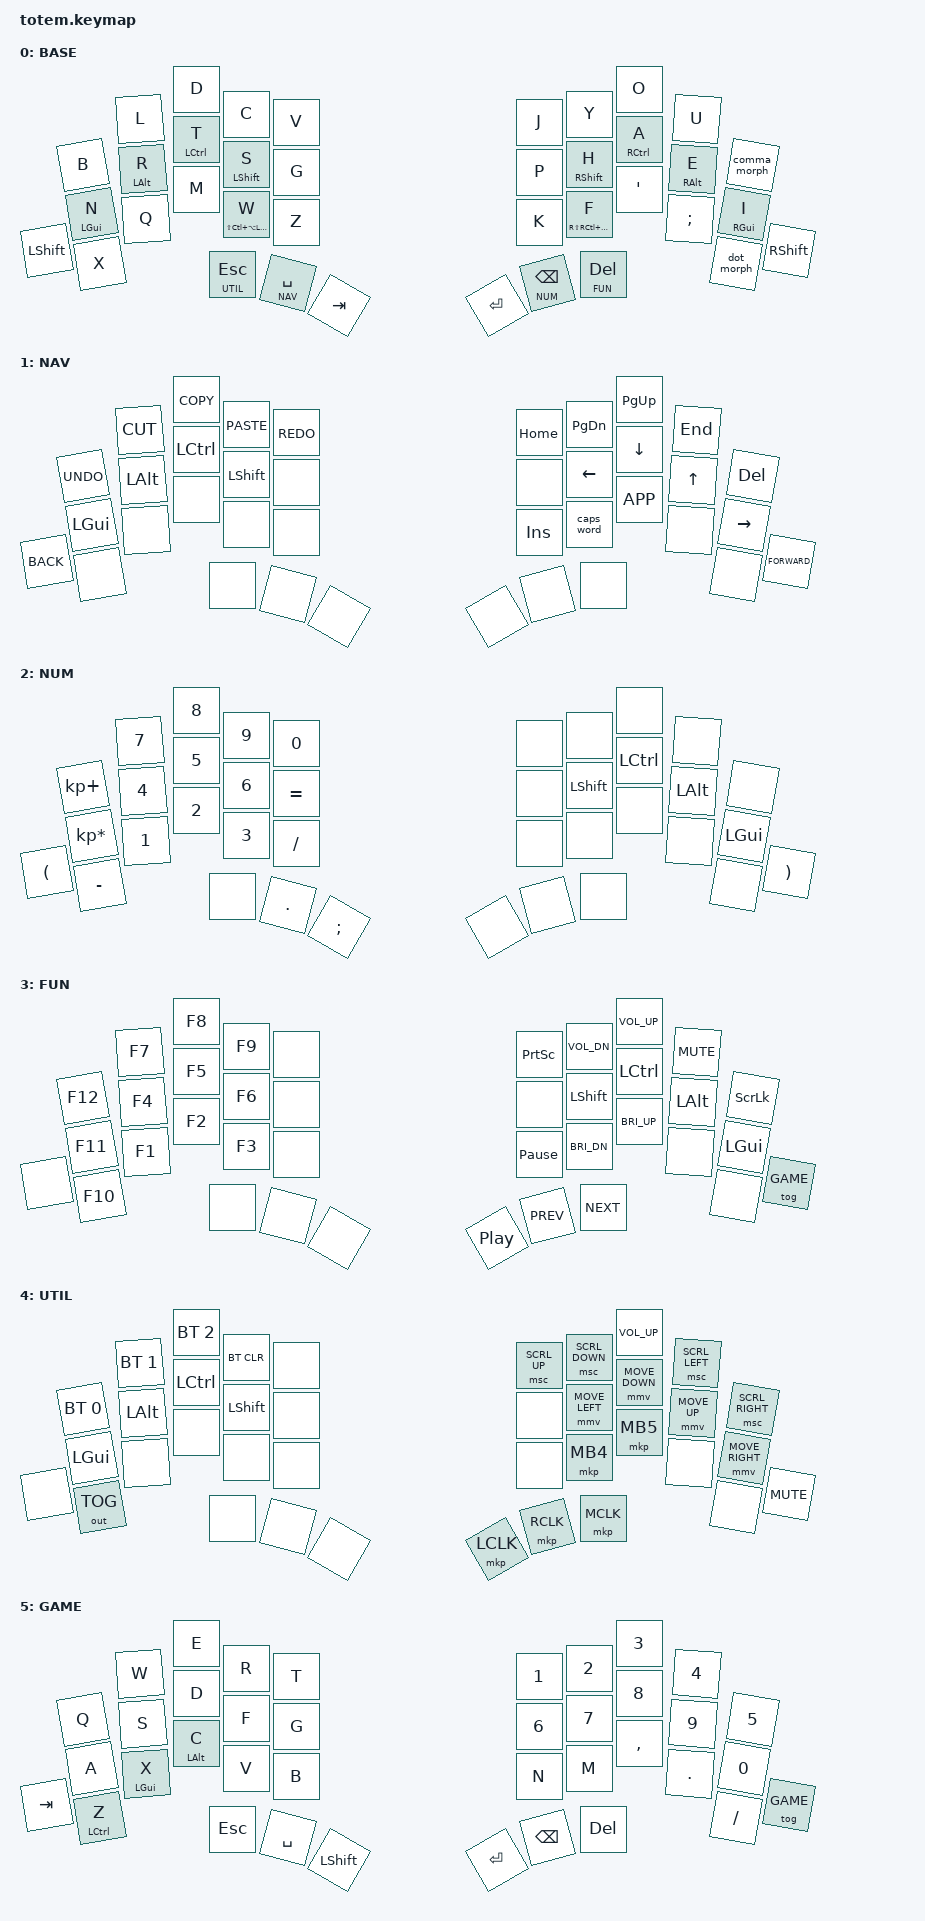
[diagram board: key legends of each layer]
// TOTEM Gallium layout — ported from RMK firmware (keymap.rs + behavior.rs)
// Home row mods (GACS), 33 combos, 2 mod-morphs, 1 macro, mouse keys, caps word

#include <behaviors.dtsi>
#include <dt-bindings/zmk/keys.h>
#include <dt-bindings/zmk/bt.h>
#include <dt-bindings/zmk/outputs.h>

// Mouse speed tuning (must precede pointing.h)
#define ZMK_POINTING_DEFAULT_MOVE_VAL 1500
#define ZMK_POINTING_DEFAULT_SCRL_VAL 20
#include <dt-bindings/zmk/pointing.h>

#define BASE 0
#define NAV  1
#define NUM  2
#define FUN  3
#define UTIL 4
#define GAME 5

// Key position groups for reference:
//          0  1  2  3  4     5  6  7  8  9       <- top
//         10 11 12 13 14    15 16 17 18 19       <- home
//    20   21 22 23 24 25    26 27 28 29 30   31  <- bottom + side
//                   32 33 34    35 36 37          <- thumbs
#define KEYS_L 0 1 2 3 4 10 11 12 13 14 20 21 22 23 24 25
#define KEYS_R 5 6 7 8 9 15 16 17 18 19 26 27 28 29 30 31
#define THUMBS 32 33 34 35 36 37

// Mouse behavior tuning — linear ramp: responsive start, full speed in 300ms
&mmv {
    time-to-max-speed-ms = <300>;
    acceleration-exponent = <1>;
};

&msc {
    time-to-max-speed-ms = <300>;
    acceleration-exponent = <0>;
};

/ {
    behaviors {
        // ── Home Row Mods (left hand) ──
        // Positional: hold only triggers on right-hand keys + thumbs
        hml: home_row_mod_left {
            compatible = "zmk,behavior-hold-tap";
            #binding-cells = <2>;
            flavor = "balanced";
            tapping-term-ms = <280>;
            quick-tap-ms = <175>;
            require-prior-idle-ms = <150>;
            bindings = <&kp>, <&kp>;
            hold-trigger-key-positions = <KEYS_R THUMBS>;
            hold-trigger-on-release;
        };

        // ── Home Row Mods (right hand) ──
        // Positional: hold only triggers on left-hand keys + thumbs
        hmr: home_row_mod_right {
            compatible = "zmk,behavior-hold-tap";
            #binding-cells = <2>;
            flavor = "balanced";
            tapping-term-ms = <280>;
            quick-tap-ms = <175>;
            require-prior-idle-ms = <150>;
            bindings = <&kp>, <&kp>;
            hold-trigger-key-positions = <KEYS_L THUMBS>;
            hold-trigger-on-release;
        };

        // ── Thumb Layer-Tap ──
        // Fast activation: hold-preferred, 200ms (RMK HoldOnOtherPress)
        lt_th: layer_tap_thumb {
            compatible = "zmk,behavior-hold-tap";
            #binding-cells = <2>;
            flavor = "hold-preferred";
            tapping-term-ms = <200>;
            quick-tap-ms = <200>;
            bindings = <&mo>, <&kp>;
        };

        // ── Mod-Morph: Comma / Semicolon ──
        // Normal: ,  |  Shifted: ; (shift suppressed)
        comma_morph: comma_semicolon {
            compatible = "zmk,behavior-mod-morph";
            #binding-cells = <0>;
            bindings = <&kp COMMA>, <&kp SEMI>;
            mods = <(MOD_LSFT|MOD_RSFT)>;
        };

        // ── Macro: Fat Arrow => ──
        fat_arrow: fat_arrow {
            compatible = "zmk,behavior-macro";
            #binding-cells = <0>;
            wait-ms = <0>;
            tap-ms = <0>;
            bindings = <&kp EQUAL &kp GT>;
        };

        // ── Mod-Morph: Dot / Colon ──
        // Normal: .  |  Shifted: : (shift suppressed, COLON = LS(SEMI))
        dot_morph: dot_colon {
            compatible = "zmk,behavior-mod-morph";
            #binding-cells = <0>;
            bindings = <&kp DOT>, <&kp COLON>;
            mods = <(MOD_LSFT|MOD_RSFT)>;
        };
    };

    // ══════════════════════════════════════════════════════════════
    // Combos — 33 total, all 80ms timeout, BASE layer only
    // ══════════════════════════════════════════════════════════════

    combos {
        compatible = "zmk,combos";

        // ─── Left vertical: top + home → ! @ # $ % ───
        combo_excl  { timeout-ms = <80>; key-positions = <0 10>;  bindings = <&kp EXCL>;  layers = <BASE>; };
        combo_at    { timeout-ms = <80>; key-positions = <1 11>;  bindings = <&kp AT>;    layers = <BASE>; };
        combo_hash  { timeout-ms = <80>; key-positions = <2 12>;  bindings = <&kp HASH>;  layers = <BASE>; };
        combo_dllr  { timeout-ms = <80>; key-positions = <3 13>;  bindings = <&kp DLLR>;  layers = <BASE>; };
        combo_prcnt { timeout-ms = <80>; key-positions = <4 14>;  bindings = <&kp PRCNT>; layers = <BASE>; };

        // ─── Left vertical: home + bottom → ? ` \ = ~ ───
        combo_qmark { timeout-ms = <80>; key-positions = <10 21>; bindings = <&kp QMARK>; layers = <BASE>; };
        combo_grave { timeout-ms = <80>; key-positions = <11 22>; bindings = <&kp GRAVE>; layers = <BASE>; };
        combo_bslh  { timeout-ms = <80>; key-positions = <12 23>; bindings = <&kp BSLH>;  layers = <BASE>; };
        combo_equal { timeout-ms = <80>; key-positions = <13 24>; bindings = <&kp EQUAL>; layers = <BASE>; };
        combo_tilde { timeout-ms = <80>; key-positions = <14 25>; bindings = <&kp TILDE>; layers = <BASE>; };

        // ─── Left horizontal: Esc + clipboard ───
        combo_esc   { timeout-ms = <80>; key-positions = <11 12 13>; bindings = <&kp ESC>;   layers = <BASE>; };
        combo_cut   { timeout-ms = <80>; key-positions = <22 24>;    bindings = <&kp LC(X)>;  layers = <BASE>; };
        combo_copy  { timeout-ms = <80>; key-positions = <22 23>;    bindings = <&kp LC(C)>;  layers = <BASE>; };
        combo_paste { timeout-ms = <80>; key-positions = <23 24>;    bindings = <&kp LC(V)>;  layers = <BASE>; };

        // ─── Right vertical: top + home → ^ + * & ───
        combo_caret { timeout-ms = <80>; key-positions = <5 15>;  bindings = <&kp CARET>; layers = <BASE>; };
        combo_plus  { timeout-ms = <80>; key-positions = <6 16>;  bindings = <&kp PLUS>;  layers = <BASE>; };
        combo_star  { timeout-ms = <80>; key-positions = <7 17>;  bindings = <&kp STAR>;  layers = <BASE>; };
        combo_amps  { timeout-ms = <80>; key-positions = <8 18>;  bindings = <&kp AMPS>;  layers = <BASE>; };

        // ─── Right vertical: home + bottom → _ - / | " => ───
        combo_under { timeout-ms = <80>; key-positions = <15 26>; bindings = <&kp UNDER>; layers = <BASE>; };
        combo_minus { timeout-ms = <80>; key-positions = <16 27>; bindings = <&kp MINUS>; layers = <BASE>; };
        combo_fslh  { timeout-ms = <80>; key-positions = <17 28>; bindings = <&kp FSLH>;  layers = <BASE>; };
        combo_pipe  { timeout-ms = <80>; key-positions = <18 29>; bindings = <&kp PIPE>;  layers = <BASE>; };
        combo_dqt   { timeout-ms = <80>; key-positions = <29 19>; bindings = <&kp DQT>;   layers = <BASE>; };
        combo_arrow { timeout-ms = <80>; key-positions = <30 19>; bindings = <&fat_arrow>; layers = <BASE>; };

        // ─── Right horizontal: brackets ───
        combo_lbkt  { timeout-ms = <80>; key-positions = <6 7>;   bindings = <&kp LBKT>;  layers = <BASE>; };
        combo_rbkt  { timeout-ms = <80>; key-positions = <7 8>;   bindings = <&kp RBKT>;  layers = <BASE>; };
        combo_lpar  { timeout-ms = <80>; key-positions = <16 17>; bindings = <&kp LPAR>;  layers = <BASE>; };
        combo_rpar  { timeout-ms = <80>; key-positions = <17 18>; bindings = <&kp RPAR>;  layers = <BASE>; };
        combo_lbrc  { timeout-ms = <80>; key-positions = <27 28>; bindings = <&kp LBRC>;  layers = <BASE>; };
        combo_rbrc  { timeout-ms = <80>; key-positions = <28 29>; bindings = <&kp RBRC>;  layers = <BASE>; };
        combo_lt    { timeout-ms = <80>; key-positions = <15 16>; bindings = <&kp LT>;    layers = <BASE>; };
        combo_gt    { timeout-ms = <80>; key-positions = <18 19>; bindings = <&kp GT>;    layers = <BASE>; };

        // ─── Caps word: S + H ───
        combo_caps  { timeout-ms = <80>; key-positions = <13 16>; bindings = <&caps_word>; layers = <BASE>; };

        // ─── ZMK Studio unlock: outermost thumbs (Esc + Del) ───
        combo_studio { timeout-ms = <80>; key-positions = <32 37>; bindings = <&studio_unlock>; };
    };

    // ══════════════════════════════════════════════════════════════
    // Keymap — 6 layers
    // ══════════════════════════════════════════════════════════════

    keymap {
        compatible = "zmk,keymap";

        // ── Layer 0: Base (Gallium) ──
        //          B     L     D     C     V       J     Y     O     U    ,/;
        //         N/Gui R/Alt T/Ctl S/Shf  G       P    H/Shf A/Ctl E/Alt I/Gui
        // LShf    X     Q     M    W/Hyp   Z       K    F/Hyp  '     ;    ./:   RShf
        //                   Esc/U Spc/N  Tab     Ent  Bksp/Nm Del/Fn
        base_layer {
            display-name = "BASE";
            bindings = <
                &kp B        &kp L        &kp D        &kp C        &kp V           &kp J        &kp Y        &kp O        &kp U        &comma_morph
                &hml LGUI N  &hml LALT R  &hml LCTRL T &hml LSHFT S &kp G           &kp P        &hmr RSHFT H &hmr RCTRL A &hmr RALT E  &hmr RGUI I
    &kp LSHFT   &kp X        &kp Q        &kp M        &hml LS(LC(LA(LGUI))) W &kp Z &kp K       &hmr RS(RC(RA(RGUI))) F &kp SQT &kp SEMI &dot_morph &kp RSHFT
                                           &lt_th UTIL ESC &lt_th NAV SPACE &kp TAB &kp RET &lt_th NUM BSPC &lt_th FUN DEL
            >;
        };

        // ── Layer 1: Nav (hold Space) ──
        // Left: editing + explicit mods | Right: vim arrows + navigation
        nav_layer {
            display-name = "NAV";
            bindings = <
                &kp K_UNDO   &kp K_CUT    &kp K_COPY   &kp K_PASTE  &kp K_REDO      &kp HOME     &kp PG_DN    &kp PG_UP    &kp END      &kp DEL
                &kp LGUI     &kp LALT     &kp LCTRL    &kp LSHFT    &none           &none        &kp LEFT     &kp DOWN     &kp UP       &kp RIGHT
    &kp K_BACK  &none        &none        &none        &none        &none           &kp INS      &caps_word   &kp K_APP    &none        &none        &kp K_FORWARD
                                           &none        &none        &none           &none        &none        &none
            >;
        };

        // ── Layer 2: Num (hold Backspace) ──
        // Left: numpad + operators | Right: explicit mods for Shift+num chording
        num_layer {
            display-name = "NUM";
            bindings = <
                &kp KP_PLUS     &kp N7    &kp N8       &kp N9       &kp N0          &none        &none        &none        &none        &none
                &kp KP_MULTIPLY &kp N4    &kp N5       &kp N6       &kp EQUAL       &none        &kp LSHFT    &kp LCTRL    &kp LALT     &kp LGUI
    &kp LPAR    &kp MINUS       &kp N1    &kp N2       &kp N3       &kp FSLH        &none        &none        &none        &none        &none        &kp RPAR
                                           &none        &kp DOT      &kp SEMI        &none        &none        &none
            >;
        };

        // ── Layer 3: Function (hold Delete) ──
        // Left: F-keys numpad layout | Right: media/brightness + mods
        fun_layer {
            display-name = "FUN";
            bindings = <
                &kp F12      &kp F7       &kp F8       &kp F9       &none           &kp PSCRN    &kp C_VOL_DN &kp C_VOL_UP &kp C_MUTE   &kp SLCK
                &kp F11      &kp F4       &kp F5       &kp F6       &none           &none        &kp LSHFT    &kp LCTRL    &kp LALT     &kp LGUI
    &none       &kp F10      &kp F1       &kp F2       &kp F3       &none           &kp PAUSE_BREAK &kp C_BRI_DN &kp C_BRI_UP &none     &none        &tog GAME
                                           &none        &none        &none           &kp C_PP     &kp C_PREV   &kp C_NEXT
            >;
        };

        // ── Layer 4: Util + Mouse (hold Escape) ──
        // Left: BT profiles + mods | Right: mouse movement/scroll/buttons
        util_layer {
            display-name = "UTIL";
            bindings = <
                &bt BT_SEL 0 &bt BT_SEL 1 &bt BT_SEL 2 &bt BT_CLR   &none          &msc SCRL_UP   &msc SCRL_DOWN &kp C_VOL_UP &msc SCRL_LEFT &msc SCRL_RIGHT
                &kp LGUI     &kp LALT     &kp LCTRL    &kp LSHFT    &none           &none          &mmv MOVE_LEFT &mmv MOVE_DOWN &mmv MOVE_UP &mmv MOVE_RIGHT
    &none       &out OUT_TOG &none        &none        &none        &none           &none          &mkp MB4       &mkp MB5     &none        &none        &kp C_MUTE
                                           &none        &none        &none           &mkp LCLK      &mkp RCLK      &mkp MCLK
            >;
        };

        // ── Layer 5: Gaming (toggle from FUN layer) ──
        // QWERTY WASD, dedicated bottom-row mods, no HRM
        game_layer {
            display-name = "GAME";
            bindings = <
                &kp Q        &kp W        &kp E        &kp R        &kp T           &kp N1       &kp N2       &kp N3       &kp N4       &kp N5
                &kp A        &kp S        &kp D        &kp F        &kp G           &kp N6       &kp N7       &kp N8       &kp N9       &kp N0
    &kp TAB     &mt LCTRL Z  &mt LGUI X   &mt LALT C   &kp V        &kp B           &kp N        &kp M        &kp COMMA    &kp DOT      &kp FSLH     &tog GAME
                                           &kp ESC      &kp SPACE    &kp LSHFT       &kp RET      &kp BSPC     &kp DEL
            >;
        };
    };
};
